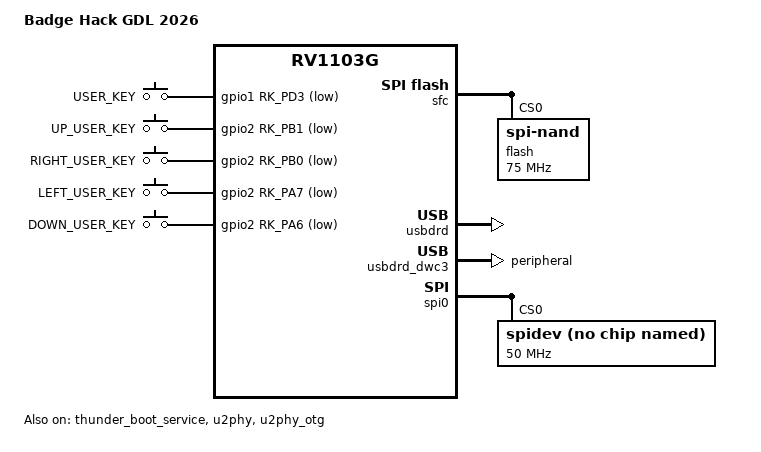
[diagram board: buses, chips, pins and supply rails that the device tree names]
// SPDX-License-Identifier: (GPL-2.0+ OR MIT)
/*
 * File: dts/rv1106g-badge-fastboot.dts
 * Purpose: Device tree for the RV1106 badge fastboot board.
 */
/*
 * Badge Hack GDL 2026 — RV1106 + SC3336
 *
 * Fastboot/thunder-boot device tree:
 *   - SC3336 on I2C4 + MIPI CSI-2 (2 lanes)
 *   - 5 gpio-keys (photo, up, right, left, down)
 *   - SPI0 spidev for the WS2812 RGB LED
 *   - thunder-boot reserved memory for the HPMCU/ISP
 */

/dts-v1/;

#include "rv1106.dtsi"
#include "rv1106-evb.dtsi"
#include "rv1106-luckfox-pico-pro-max-ipc.dtsi"
#include "rv1106-thunder-boot.dtsi"

/ {
	model = "Badge Hack GDL 2026";
	compatible = "rockchip,rv1103g-38x38-ipc-v10", "rockchip,rv1106g3";

	chosen {
		bootargs = "loglevel=0 rootfstype=erofs rootflags=dax console=ttyFIQ0 root=/dev/rd0 snd_soc_core.prealloc_buffer_size_kbytes=16 coherent_pool=0 driver_async_probe=dwmmc_rockchip";
	};

	gpio_keys: gpio-keys {
		compatible = "gpio-keys";
		pinctrl-names = "default";
		pinctrl-0 = <&gpio1_pd3
			     &gpio2_pb1
			     &gpio2_pb0
			     &gpio2_pa7
			     &gpio2_pa6>;

		key_user: key-user {
			label = "USER_KEY";
			linux,code = <KEY_ENTER>;
			gpios = <&gpio1 RK_PD3 GPIO_ACTIVE_LOW>;
			debounce-interval = <10>;
			wakeup-source;
		};

		key_user_up: key-user-up {
			label = "UP_USER_KEY";
			linux,code = <KEY_UP>;
			gpios = <&gpio2 RK_PB1 GPIO_ACTIVE_LOW>;
			debounce-interval = <10>;
			wakeup-source;
		};

		key_user_right: key-user-right {
			label = "RIGHT_USER_KEY";
			linux,code = <KEY_RIGHT>;
			gpios = <&gpio2 RK_PB0 GPIO_ACTIVE_LOW>;
			debounce-interval = <10>;
			wakeup-source;
		};

		key_user_left: key-user-left {
			label = "LEFT_USER_KEY";
			linux,code = <KEY_LEFT>;
			gpios = <&gpio2 RK_PA7 GPIO_ACTIVE_LOW>;
			debounce-interval = <10>;
			wakeup-source;
		};

		key_user_down: key-user-down {
			label = "DOWN_USER_KEY";
			linux,code = <KEY_DOWN>;
			gpios = <&gpio2 RK_PA6 GPIO_ACTIVE_LOW>;
			debounce-interval = <10>;
			wakeup-source;
		};
	};
};

/********** FLASH **********/
&sfc {
	status = "okay";

	flash@0 {
		compatible = "spi-nand";
		reg = <0>;
		spi-max-frequency = <75000000>;
		spi-rx-bus-width = <4>;
		spi-tx-bus-width = <1>;
	};
};

/********** THUNDER BOOT **********/
&rkcif_mipi_lvds {
	memory-region-thunderboot = <&rkisp_thunderboot>;
};

&thunder_boot_service {
	status = "okay";
};

&rkisp_thunderboot {
	/*
	 * vicap, capture raw10, ceil(w*10/8/256)*256*h *4 buffers.
	 * 2304x1296 -> 0xf30000.
	 */
	reg = <0x00860000 0xf30000>;
};

&ramdisk_r {
	reg = <0x1790000 (20 * 0x00100000)>;
};

&ramdisk_c {
	reg = <0x2b90000 (16 * 0x00100000)>;
};

/********** CAMERA **********/
/* The badge only has the main SC3336; remove the secondary MIS5001 and its
 * DPHY endpoint so the graph has no dangling phandles. */
&i2c4 {
	/delete-node/ mis5001@31;
};

&csi2_dphy0 {
	ports {
		port@0 {
			/delete-node/ endpoint@1;
		};
	};
};

/********** DEBUG UART **********/
&fiq_debugger {
	rockchip,baudrate = <115200>;
	pinctrl-names = "default";
	pinctrl-0 = <&uart2m1_xfer>;
};

/********** USB **********/
/* The badge USB port is device-only. The base EVB DTS leaves dwc3 in OTG
 * mode, which does not enumerate the gadget on this board. */
&u2phy {
	status = "okay";
};

&u2phy_otg {
	rockchip,dis-u2-susphy;
	status = "okay";
};

&usbdrd {
	status = "okay";
};

&usbdrd_dwc3 {
	status = "okay";
	dr_mode = "peripheral";
};

/********** SPI / LED **********/
&spi0 {
	status = "okay";

	/* The ST7789 display node is not present on the badge and its
	 * led/dc GPIOs overlap with the buttons. Remove it. */
	/delete-node/ fbtft@0;

	spidev@0 {
		compatible = "rockchip,spidev";
		spi-max-frequency = <50000000>;
		reg = <0>;
	};
};

/********** UNUSED ON BADGE **********/
&{/dht11_sensor} {
	status = "disabled";
};

/********** GPIO **********/
&pinctrl {
	gpio1-pd3 {
		gpio1_pd3: gpio1-pd3 {
			rockchip,pins = <1 RK_PD3 RK_FUNC_GPIO &pcfg_pull_up>;
		};
	};

	gpio2-pb1 {
		gpio2_pb1: gpio2-pb1 {
			rockchip,pins = <2 RK_PB1 RK_FUNC_GPIO &pcfg_pull_up>;
		};
	};

	gpio2-pb0 {
		gpio2_pb0: gpio2-pb0 {
			rockchip,pins = <2 RK_PB0 RK_FUNC_GPIO &pcfg_pull_up>;
		};
	};

	gpio2-pa7 {
		gpio2_pa7: gpio2-pa7 {
			rockchip,pins = <2 RK_PA7 RK_FUNC_GPIO &pcfg_pull_up>;
		};
	};

	gpio2-pa6 {
		gpio2_pa6: gpio2-pa6 {
			rockchip,pins = <2 RK_PA6 RK_FUNC_GPIO &pcfg_pull_up>;
		};
	};
};
